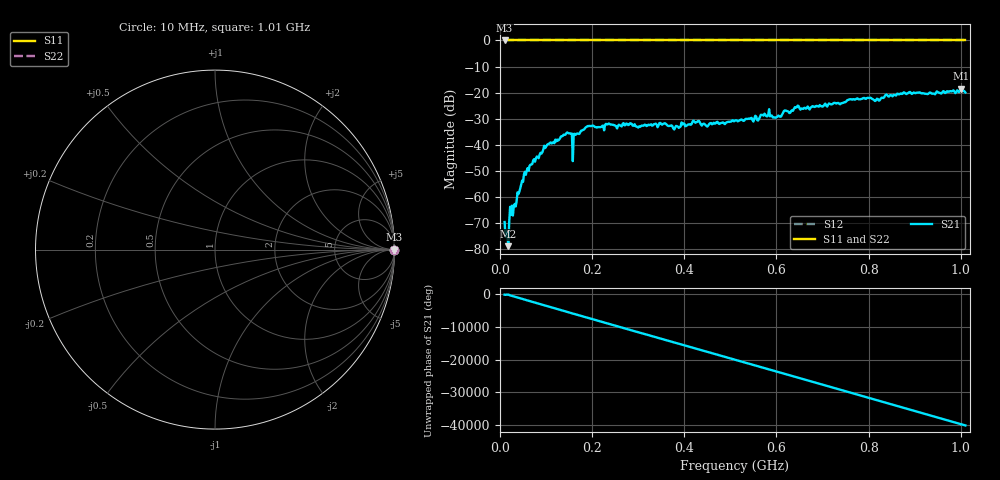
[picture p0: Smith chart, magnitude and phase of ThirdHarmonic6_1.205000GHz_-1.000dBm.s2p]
! 8/16/2025 12:30:53 PM
! C:\ANRITSUVNA\TEMP\TEMP.S2P
! CHANNEL.1
! TR.MEASUREMENT
! RAW.DATA
! RF.CORRECTION.OFF
! AVERAGING.OFF
! IF.BANDWIDTH: 5KHZ
! SWEEPTYPE:  FREQ.SWEEP(Linear)
! Reference Plane Port Info
! PORT:  PORT1  PORT2
! DISTANCE:  0  m  0  m
! TIME:  0  s  0  s
! PHASE.OFFSET:  0  deg.  0  deg.
! LOSS:  0  dB  0  dB
! REF.LOSS:  0  dB  0  dB
! REF.FREQ:  0  Hz  0  Hz
! Power Info
! POWER:  -20  dBm  -20  dBm
! EFF.POWER:  -20  dBm  -20  dBm
! SOURCE.ATTEN:  0  dB  0  dB
! TEST.ATTEN:  0  dB  0  dB
# GHZ S RI R 50.0
! FREQ.GHZ  S11RE  S11IM  S21RE  S21IM  S12RE  S12IM  S22RE  S22IM
!; PortSelection: Port_12
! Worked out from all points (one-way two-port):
!   501 points, 10 MHz to 1.01 GHz, reference 50 ohm
!   highest |S21| = -18.56 dB at 1 GHz (marker M1); lowest = -79.0 dB at 18 MHz (marker M2)
!   lowest |S11| = 0.0 dB at 10 MHz (marker M3)
!   |S11| at or under -10 dB: nowhere
!   |S22| runs from 0.0 to 0.0 dB; largest |S21 - S12| = 1.1
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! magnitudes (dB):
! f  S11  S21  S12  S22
! 10 MHz  0.0  -69.7  0.0  0.0
! 14 MHz  0.0  -73.1  0.0  0.0
! 18 MHz  0.0  -79.0  0.0  0.0
! 26 MHz  0.0  -63.4  0.0  0.0
! 32 MHz  0.0  -62.7  0.0  0.0
! 50 MHz  0.0  -54.3  0.0  0.0
! 70 MHz  0.0  -47.5  0.0  0.0
! 106 MHz  0.0  -39.7  0.0  0.0
! 148 MHz  0.0  -35.6  0.0  0.0
! 162 MHz  0.0  -35.8  0.0  0.0
! 164 MHz  0.0  -36.3  0.0  0.0
! 178 MHz  0.0  -34.5  0.0  0.0
! 234 MHz  0.0  -32.2  0.0  0.0
! 344 MHz  0.0  -32.7  0.0  0.0
! 380 MHz  0.0  -33.5  0.0  0.0
! 510 MHz  0.0  -30.8  0.0  0.0
! 598 MHz  0.0  -29.7  0.0  0.0
! 644 MHz  0.0  -25.7  0.0  0.0
! 678 MHz  0.0  -25.2  0.0  0.0
! 844 MHz  0.0  -21.5  0.0  0.0
! 1 GHz  0.0  -18.6  0.0  0.0
! 1.01 GHz  0.0  -20.0  0.0  0.0
